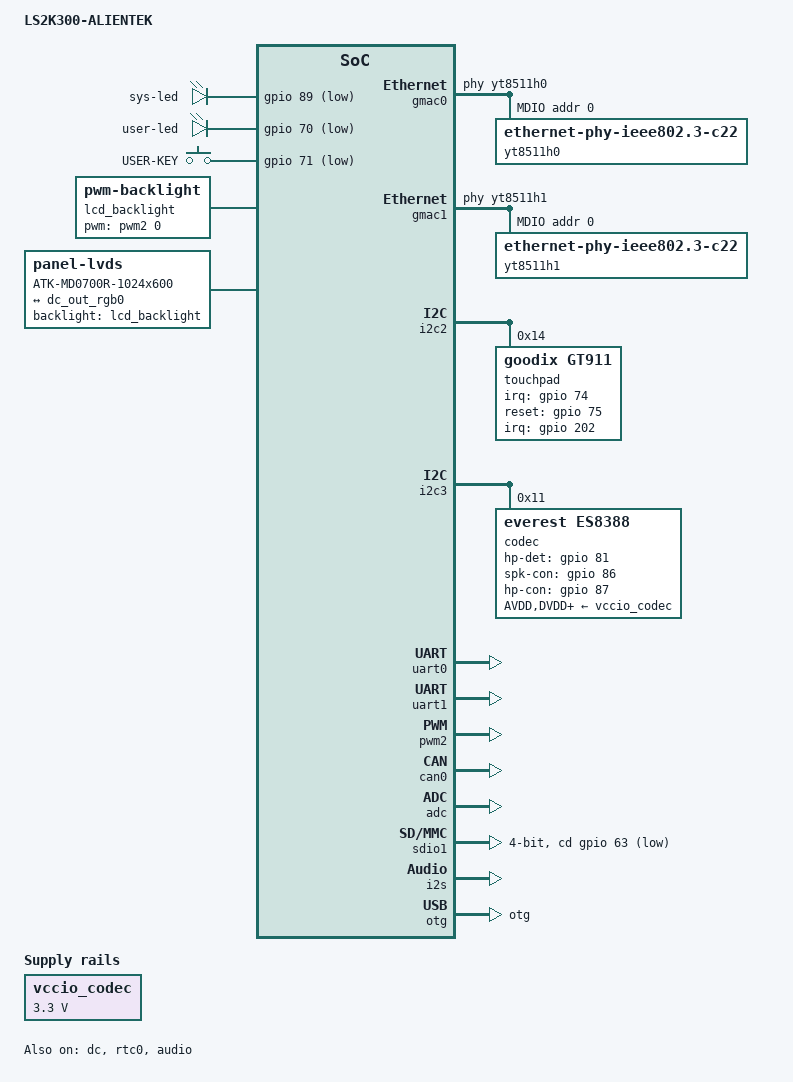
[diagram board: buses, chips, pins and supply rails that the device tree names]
// SPDX-License-Identifier: GPL-2.0
/*
 * Copyright (C) 2025 Loongson Technology Corporation Limited
 */

/dts-v1/;


#include "ls2k300_g2k03z0_core_v10.dtsi"
#include "loongson_panel_param.dtsi"

/ {
	model = "LS2K300-ALIENTEK";

	leds {
		compatible = "gpio-leds";
		pinctrl-names = "default";
		pinctrl-0 = <&pinctrl_gpio_leds>;
		//板载DSO灯
		led0 {
			label = "sys-led";
			gpios = <&gpio 89 GPIO_ACTIVE_LOW>;
			linux,default-trigger = "heartbeat";
			default-state = "on";
			status = "okay";
		};
		//板载DS1灯
		led1 {
			label = "user-led";
			gpios = <&gpio 70 GPIO_ACTIVE_LOW>;
			linux,default-trigger = "none";
			default-state = "on";
			status = "okay";			
		};
	};

	gpio_keys: gpio_keys@0 {
		compatible = "gpio-keys";
		pinctrl-names = "default";
		pinctrl-0 = <&pinctrl_gpio_keys>;
		#address-cells = <1>;
		#size-cells = <0>;
		autorepeat;
		//板载KEY2按键
		key {
			label = "USER-KEY";
			linux,code = <114>;
			gpios = <&gpio 71 GPIO_ACTIVE_LOW>;
			gpio-key,wakeup;
		};
	};

	lcd_backlight: backlight {
        compatible = "pwm-backlight";
        pwms = <&pwm2 0 5000000 0>;
		brightness-levels = <
          0   1   2   3   4   5   6   7>;
        default-brightness-level = <6>;
        status = "okay";
	};

	panel: dvo-connector@0 {
		#address-cells = <1>;
		#size-cells = <0>;
		compatible = "panel-lvds", "auo,b101ean01";
		backlight = <&lcd_backlight>;
		width-mm = <223>;
		height-mm = <125>;
		label = "ATK-MD0700R-1024x600";
		data-mapping = "jeida-24";

		panel-timing {
			clock-frequency = <51200000>;
			hactive = <1024>;
			vactive = <600>;
			hsync-len = <20>;
			hfront-porch = <160>;
			hback-porch = <140>;
			vfront-porch = <12>;
			vback-porch = <20>;
			vsync-len = <3>;
			de-active = <1>;
			hsync-active = <0>;
			vsync-active = <0>;
			pixelclk-active = <0>;
		};

		port@0 {
			reg = <0>;

			#address-cells = <1>;
			#size-cells = <0>;

			dvo_connector_in: endpoint@0 {
				reg = <0>;
				remote-endpoint = <&dc_out_rgb0>;
			};
		};
	};

	vccio_codec: 3_3V{
		compatible = "regulator-fixed";
		regulator-name = "VCC_IO";
		regulator-min-microvolt = <3300000>;
		regulator-max-microvolt = <3300000>;
		regulator-always-on;
	};

	// 虽然这个时钟在从模式下没用，但 es8388 驱动必须指定这个时钟
	es8388_clk: es8388-clock {
		compatible = "fixed-clock";
		clock-frequency = <12288000>;
		#clock-cells = <1>;
	};

};

&dc {
	status = "ok";

	ports {
		#address-cells = <1>;
		#size-cells = <0>;

		port@0 {
			reg = <0>;
			dc_out_rgb0: endpoint {
				remote-endpoint = <&dvo_connector_in>;
			};
		};
	};
};

&gmac0 {
	status = "okay";
	phy-handle = <&yt8511h0>;
	mdio {
		compatible = "snps,dwmac-mdio";
		#address-cells = <1>;
		#size-cells = <0>;

		yt8511h0: ethernet-phy@0 {
			compatible = "ethernet-phy-ieee802.3-c22";
			reg = <0>;
			motorcomm,led0_cfg = <0x40>; //千兆常亮
			motorcomm,led1_cfg = <0x30>; //百兆 十兆常亮
			motorcomm,led2_cfg = <0x2600>; //有数据时闪烁
		};
	};
};

&gmac1 {
	status = "okay";
	phy-handle = <&yt8511h1>;
	mdio {
		compatible = "snps,dwmac-mdio";
		#address-cells = <1>;
		#size-cells = <0>;

		yt8511h1: ethernet-phy@1 {
			compatible = "ethernet-phy-ieee802.3-c22";
			reg = <0>;
			motorcomm,led0_cfg = <0x40>; //千兆常亮
			motorcomm,led1_cfg = <0x30>; //百兆 十兆常亮
			motorcomm,led2_cfg = <0x2600>; //有数据时闪烁
		};
	};
};

&i2c2 {
	status = "ok";

	touchpad: gt911@14 {
        compatible = "goodix,gt911";
		reg = <0x14>;
		// 2K300 GPIO 支持中断控制
		// GPIO 中断号为 vhwirq-base + pinnum (170 = 128 + 42)
		interrupt-parent = <&gpio>;
		interrupts = <202 IRQ_TYPE_EDGE_FALLING>;
		irq-gpios = <&gpio 74 GPIO_ACTIVE_HIGH>;
		reset-gpios = <&gpio 75 GPIO_ACTIVE_HIGH>;
	};
};

&i2c3 {
	status = "ok";
    //8388音频芯片
	codec: es8388@11{
		compatible = "everest,es8388";
		reg = <0x11>;
		hp-det-gpio = <&gpio 81 GPIO_ACTIVE_HIGH>;
        spk-con-gpio = <&gpio 86 GPIO_ACTIVE_HIGH>;
		hp-con-gpio = <&gpio 87 GPIO_ACTIVE_HIGH>;
		AVDD-supply = <&vccio_codec>;
		DVDD-supply = <&vccio_codec>;
		HPVDD-supply = <&vccio_codec>;
		PVDD-supply = <&vccio_codec>;
		clocks = <&es8388_clk 0>;
	};
};

&uart0 {
	status = "okay";
};

&uart1 {
	status = "okay";
};

&pwm2 {
	status = "okay";
};

&can0 {
	ls,canfd-stb-gpio = <&gpio 62 GPIO_ACTIVE_HIGH>;
	status = "okay";
    //status = "disabled";
};


&adc {
	status = "okay";
};

&rtc0 {
	status = "okay";
};

&sdio1 {
	pinctrl-0 = <&sdio1_pins>;
	pinctrl-names = "default";
	cap-sd-highspeed;
	cap-mmc-highspeed;
	bus-width = <4>;
	cd-gpios = <&gpio 63 GPIO_ACTIVE_LOW>;
	status = "okay";
};

&i2s {
	status = "okay";
};

&audio {
	status = "okay";
};

&sound {
	status = "okay";
	loongson,audio-codec = <&codec>;
	// Easy Compatible for asound.state Configure
	loongson,sound-card-name = "ES8388";
};

&pinmux{ 
	   /*/驱动GPIO子系统实验
		pinctrl_gpio_62: pinmux_G62_as_gpio {
			pinctrl-single,bits = <0xc 0x00000000 0x30000000>;
		};
		*/

		//DS0和DS1复用为GPIO
		pinctrl_gpio_leds: pinmux_G70-G89_as_gpio {
			pinctrl-single,bits = <0x10 0x00000000 0x00003000
						0x14 0x00000000 0x000c0000>;
		};

		//KEY2复用为GPIO
		pinctrl_gpio_keys: pinmux_G71_as_gpio {
			pinctrl-single,bits = <0x10 0x00000000 0x0000c000>;
		};
};

&otg {
	dr_mode = "otg";
};
